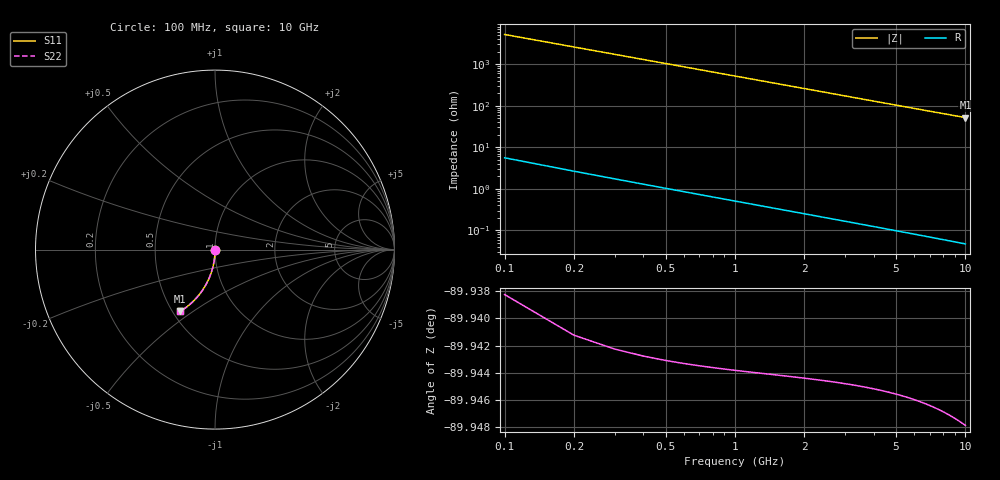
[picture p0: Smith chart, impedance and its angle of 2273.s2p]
# Hz S RI R 50.00
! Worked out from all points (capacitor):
!   100 points, 100 MHz to 10 GHz, reference 50 ohm
!   read as one part in shunt: C = 308 fF near 100 MHz
!   lowest |Z| = 51.7 ohm at 10 GHz (marker M1)
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1e8  0.000107 -0.00432  0.9998 -0.00536  0.9998 -0.00536  0.000107 -0.00432
2e8  3.32e-05 -0.00865  0.9998 -0.0107  0.9998 -0.0107  3.32e-05 -0.00865
3e8  -8.66e-05 -0.013  0.9996 -0.0161  0.9996 -0.0161  -8.66e-05 -0.013
4e8  -0.000253 -0.0173  0.9995 -0.0214  0.9995 -0.0214  -0.000253 -0.0173
5e8  -0.000466 -0.0216  0.9992 -0.0268  0.9992 -0.0268  -0.000466 -0.0216
6e8  -0.000725 -0.0259  0.999 -0.0321  0.999 -0.0321  -0.000725 -0.0259
7e8  -0.00103 -0.0302  0.9987 -0.0375  0.9987 -0.0375  -0.00103 -0.0302
8e8  -0.00138 -0.0345  0.9983 -0.0428  0.9983 -0.0428  -0.00138 -0.0345
9e8  -0.00178 -0.0388  0.9979 -0.0482  0.9979 -0.0482  -0.00178 -0.0388
1.1e9  -0.00271 -0.0474  0.9969 -0.0588  0.9969 -0.0588  -0.00271 -0.0474
1.4e9  -0.00446 -0.0603  0.9952 -0.0748  0.9952 -0.0748  -0.00446 -0.0603
1.8e9  -0.00742 -0.0773  0.9921 -0.096  0.9921 -0.096  -0.00742 -0.0773
2.1e9  -0.0101 -0.09  0.9894 -0.1118  0.9894 -0.1118  -0.0101 -0.09
2.5e9  -0.0143 -0.1067  0.985 -0.1326  0.985 -0.1326  -0.0143 -0.1067
2.9e9  -0.0192 -0.1231  0.98 -0.1533  0.98 -0.1533  -0.0192 -0.1231
3.4e9  -0.0263 -0.1433  0.9727 -0.1787  0.9727 -0.1787  -0.0263 -0.1433
4.2e9  -0.0398 -0.1746  0.9589 -0.2184  0.9589 -0.2184  -0.0398 -0.1746
5.1e9  -0.0579 -0.208  0.9404 -0.2612  0.9404 -0.2612  -0.0579 -0.208
5.9e9  -0.0762 -0.2357  0.9216 -0.2975  0.9216 -0.2975  -0.0762 -0.2357
6.7e9  -0.0965 -0.2616  0.9007 -0.3319  0.9007 -0.3319  -0.0965 -0.2616
8.4e9  -0.1448 -0.3092  0.8509 -0.3979  0.8509 -0.3979  -0.1448 -0.3092
1e10  -0.1948 -0.3447  0.7993 -0.4509  0.7993 -0.4509  -0.1948 -0.3447
